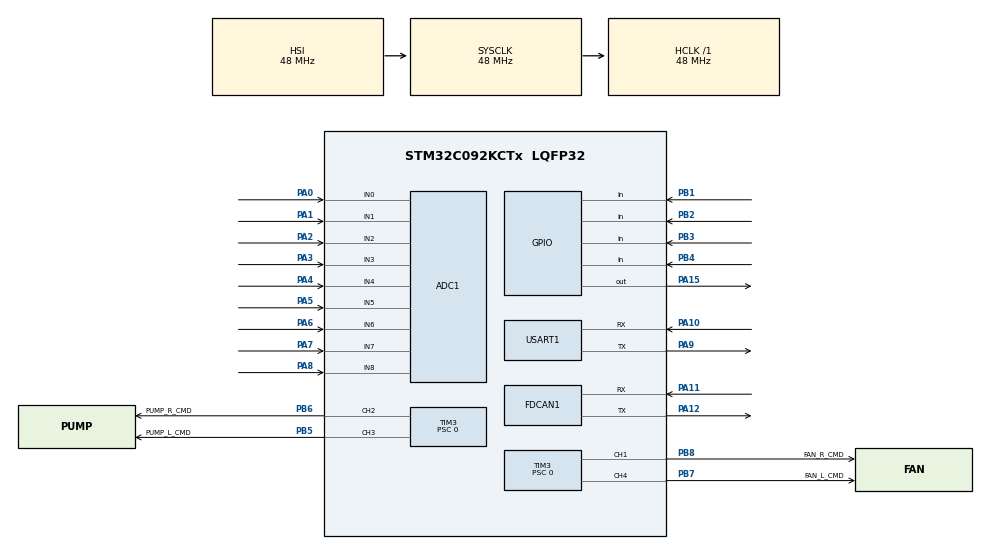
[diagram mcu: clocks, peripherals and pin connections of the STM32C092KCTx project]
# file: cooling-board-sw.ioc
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ADC1.Channel-0\#ChannelRegularConversion=ADC_CHANNEL_0
ADC1.Channel-1\#ChannelRegularConversion=ADC_CHANNEL_1
ADC1.Channel-2\#ChannelRegularConversion=ADC_CHANNEL_2
ADC1.Channel-3\#ChannelRegularConversion=ADC_CHANNEL_3
ADC1.Channel-4\#ChannelRegularConversion=ADC_CHANNEL_4
ADC1.Channel-5\#ChannelRegularConversion=ADC_CHANNEL_5
ADC1.Channel-6\#ChannelRegularConversion=ADC_CHANNEL_6
ADC1.Channel-7\#ChannelRegularConversion=ADC_CHANNEL_7
ADC1.DMAContinuousRequests=ENABLE
ADC1.ExternalTrigConv=ADC_EXTERNALTRIG_T1_TRGO2
ADC1.NbrOfConversion=8
ADC1.NbrOfConversionFlag=1
ADC1.OffsetNumber-0\#ChannelRegularConversion=ADC_OFFSET_NONE
ADC1.OffsetNumber-1\#ChannelRegularConversion=ADC_OFFSET_NONE
ADC1.OffsetNumber-2\#ChannelRegularConversion=ADC_OFFSET_NONE
ADC1.OffsetNumber-3\#ChannelRegularConversion=ADC_OFFSET_NONE
ADC1.OffsetNumber-4\#ChannelRegularConversion=ADC_OFFSET_NONE
ADC1.OffsetNumber-5\#ChannelRegularConversion=ADC_OFFSET_NONE
ADC1.OffsetNumber-6\#ChannelRegularConversion=ADC_OFFSET_NONE
ADC1.OffsetNumber-7\#ChannelRegularConversion=ADC_OFFSET_NONE
ADC1.Overrun=ADC_OVR_DATA_PRESERVED
ADC1.Rank-0\#ChannelRegularConversion=1
ADC1.Rank-1\#ChannelRegularConversion=2
ADC1.Rank-2\#ChannelRegularConversion=3
ADC1.Rank-3\#ChannelRegularConversion=4
ADC1.Rank-4\#ChannelRegularConversion=5
ADC1.Rank-5\#ChannelRegularConversion=6
ADC1.Rank-6\#ChannelRegularConversion=7
ADC1.Rank-7\#ChannelRegularConversion=8
ADC1.SamplingTime-0\#ChannelRegularConversion=ADC_SAMPLINGTIME_COMMON_1
ADC1.SamplingTime-1\#ChannelRegularConversion=ADC_SAMPLINGTIME_COMMON_1
ADC1.SamplingTime-2\#ChannelRegularConversion=ADC_SAMPLINGTIME_COMMON_1
ADC1.SamplingTime-3\#ChannelRegularConversion=ADC_SAMPLINGTIME_COMMON_1
ADC1.SamplingTime-4\#ChannelRegularConversion=ADC_SAMPLINGTIME_COMMON_1
ADC1.SamplingTime-5\#ChannelRegularConversion=ADC_SAMPLINGTIME_COMMON_1
ADC1.SamplingTime-6\#ChannelRegularConversion=ADC_SAMPLINGTIME_COMMON_1
ADC1.SamplingTime-7\#ChannelRegularConversion=ADC_SAMPLINGTIME_COMMON_1
ADC1.SamplingTimeCommon1=ADC_SAMPLETIME_12CYCLES_5
ADC1.SamplingTimeCommon2=ADC_SAMPLETIME_12CYCLES_5
ADC1.SelectedChannel=ADC_CHANNEL_0|ADC_CHANNEL_1|ADC_CHANNEL_2|ADC_CHANNEL_3|ADC_CHANNEL_4|ADC_CHANNEL_5|ADC_CHANNEL_6|ADC_CHANNEL_7|ADC_CHANNEL_8
ADC1.Sequencer=FULLY_CONFIGURABLE
ADC1.master=1
Dma.ADC1.0.Direction=DMA_PERIPH_TO_MEMORY
Dma.ADC1.0.EventEnable=DISABLE
Dma.ADC1.0.Instance=DMA1_Channel1
Dma.ADC1.0.MemDataAlignment=DMA_MDATAALIGN_HALFWORD
Dma.ADC1.0.MemInc=DMA_MINC_ENABLE
Dma.ADC1.0.Mode=DMA_CIRCULAR
Dma.ADC1.0.PeriphDataAlignment=DMA_PDATAALIGN_HALFWORD
Dma.ADC1.0.PeriphInc=DMA_PINC_DISABLE
Dma.ADC1.0.Polarity=HAL_DMAMUX_REQ_GEN_RISING
Dma.ADC1.0.Priority=DMA_PRIORITY_LOW
Dma.ADC1.0.RequestNumber=1
Dma.ADC1.0.SignalID=NONE
Dma.ADC1.0.SyncEnable=DISABLE
Dma.ADC1.0.SyncPolarity=HAL_DMAMUX_SYNC_NO_EVENT
Dma.ADC1.0.SyncRequestNumber=1
Dma.ADC1.0.SyncSignalID=NONE
Dma.Request0=ADC1
FDCAN1.CalculateBaudRateNominal=1000000
FDCAN1.CalculateTimeBitNominal=1000
FDCAN1.CalculateTimeQuantumNominal=62.5
FDCAN1.NominalPrescaler=3
FDCAN1.NominalSyncJumpWidth=2
FDCAN1.NominalTimeSeg1=12
FDCAN1.NominalTimeSeg2=3
Mcu.Family=STM32C0
Mcu.Name=STM32C092KCTx
Mcu.Package=LQFP32
NVIC.DMA1_Channel1_IRQn=true\:0\:0\:false\:false\:true\:false\:true\:true
NVIC.FDCAN1_IT0_IRQn=true\:0\:0\:false\:false\:true\:true\:true\:true
NVIC.FDCAN1_IT1_IRQn=true\:0\:0\:false\:false\:true\:true\:true\:true
PA0.Mode=IN0
PA0.Signal=ADC1_IN0
PA1.Mode=IN1
PA1.Signal=ADC1_IN1
PA10.Mode=Asynchronous
PA10.Signal=USART1_RX
PA11\ [PA9].Mode=FDCAN_Activate
PA11\ [PA9].Signal=FDCAN1_RX
PA12\ [PA10].Mode=FDCAN_Activate
PA12\ [PA10].Signal=FDCAN1_TX
PA13.Mode=Serial_Wire
PA13.Signal=DEBUG_SWDIO
PA14-BOOT0.Mode=Serial_Wire
PA14-BOOT0.Signal=DEBUG_SWCLK
PA15.Signal=GPIO_Output
PA2.Mode=IN2
PA2.Signal=ADC1_IN2
PA3.Mode=IN3
PA3.Signal=ADC1_IN3
PA4.Mode=IN4
PA4.Signal=ADC1_IN4
PA5.Mode=IN5
PA5.Signal=ADC1_IN5
PA6.Mode=IN6
PA6.Signal=ADC1_IN6
PA7.Mode=IN7
PA7.Signal=ADC1_IN7
PA8.Mode=IN8
PA8.Signal=ADC1_IN8
PA9.Mode=Asynchronous
PA9.Signal=USART1_TX
PB1.Signal=GPIO_Input
PB2.Signal=GPIO_Input
PB3.Signal=GPIO_Input
PB4.Signal=GPIO_Input
PB5.GPIO_Label=PUMP_L_CMD
PB5.Signal=S_TIM3_CH3
PB6.GPIO_Label=PUMP_R_CMD
PB6.Signal=S_TIM3_CH2
PB7.GPIO_Label=FAN_L_CMD
PB7.Signal=S_TIM3_CH4
PB8.GPIO_Label=FAN_R_CMD
PB8.Signal=S_TIM3_CH1
PC14-OSCX_IN(PC14).Mode=HSE-External-Oscillator
PC14-OSCX_IN(PC14).Signal=RCC_OSCX_IN
PC15-OSCX_OUT(PC15).Mode=HSE-External-Oscillator
PC15-OSCX_OUT(PC15).Signal=RCC_OSCX_OUT
ProjectManager.HeapSize=0x200
ProjectManager.StackSize=0x400
ProjectManager.TargetToolchain=Makefile
RCC.ADCFreq_Value=48000000
RCC.AHBFreq_Value=48000000
RCC.CortexFreq_Value=48000000
RCC.EXTERNAL_CLOCK_VALUE=12288000
RCC.HCLKFreq_Value=48000000
RCC.HSE_VALUE=8000000
RCC.HSISYSCLKDivider=RCC_HSI_DIV1
RCC.HSI_VALUE=48000000
RCC.LSE_VALUE=32768
RCC.SYSCLKFreq_VALUE=48000000
SH.S_TIM3_CH1.0=TIM3_CH1,PWM Generation1 CH1
SH.S_TIM3_CH2.0=TIM3_CH2,PWM Generation2 CH2
SH.S_TIM3_CH3.0=TIM3_CH3,PWM Generation3 CH3
SH.S_TIM3_CH4.0=TIM3_CH4,PWM Generation4 CH4
TIM1.Period=999
TIM1.Prescaler=4799
TIM1.TIM_MasterOutputTrigger=TIM_TRGO_RESET
TIM1.TIM_MasterOutputTrigger2=TIM_TRGO2_UPDATE
TIM3.Channel-PWM\ Generation1\ CH1=TIM_CHANNEL_1
TIM3.Channel-PWM\ Generation2\ CH2=TIM_CHANNEL_2
TIM3.Channel-PWM\ Generation3\ CH3=TIM_CHANNEL_3
TIM3.Channel-PWM\ Generation4\ CH4=TIM_CHANNEL_4
TIM3.OCPolarity_1=TIM_OCPOLARITY_HIGH
TIM3.OCPolarity_2=TIM_OCPOLARITY_HIGH
TIM3.OCPolarity_3=TIM_OCPOLARITY_HIGH
TIM3.OCPolarity_4=TIM_OCPOLARITY_HIGH
TIM3.Period=65535
TIM3.Prescaler=0
USART1.VirtualMode-Asynchronous=VM_ASYNC
VP_TIM1_VS_ClockSourceINT.Mode=Internal
VP_TIM3_VS_ClockSourceINT.Mode=Internal
board=custom

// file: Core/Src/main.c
/* USER CODE BEGIN Header */
/**
  ******************************************************************************
  * @file           : main.c
  * @brief          : Main program body
  ******************************************************************************
  * @attention
  *
  * Copyright (c) 2026 STMicroelectronics.
  * All rights reserved.
  *
  * This software is licensed under terms that can be found in the LICENSE file
  * in the root directory of this software component.
  * If no LICENSE file comes with this software, it is provided AS-IS.
  *
  ******************************************************************************
  */
/* USER CODE END Header */
#include "main.h"
#include "adc.h"
#include "dma.h"
#include "fdcan.h"
#include "tim.h"
#include "usart.h"
#include "gpio.h"

/* USER CODE BEGIN Includes */

#include "fsm.h"
#include "post.h"
#include "can-communication-router-api.h"
#include "control-api.h"
#include "timebase-api.h"
#include "watchdogs-api.h"

/* USER CODE END Includes */

/* USER CODE BEGIN PD */
#define TIMEBASE_RESOLUTION 1U
/* USER CODE END PD */

/* USER CODE BEGIN PV */
fsm_state_t current_state = FSM_STATE_INIT;
struct TimebaseHandler timebase_handler;
struct WatchdogHandler watchdog_handler;

/* USER CODE END PV */

void SystemClock_Config(void);

/* USER CODE BEGIN 0 */

static void VectorBase_Config(void) {
    /* The constant array with vectors of the vector table is declared externally in the
   * c-startup code.
   */
    extern const unsigned long g_pfnVectors[];

    /* Remap the vector table to where the vector table is located for this program. */
    SCB->VTOR = (unsigned long)&g_pfnVectors[0];
}

/* USER CODE END 0 */

int main(void) {

    /* USER CODE BEGIN 1 */
    VectorBase_Config(); // bootloader code
    /* USER CODE END 1 */

    /* MCU Configuration--------------------------------------------------------*/

    /* Reset of all peripherals, Initializes the Flash interface and the Systick. */
    HAL_Init();

    /* Configure the system clock */
    SystemClock_Config();

    /* Initialize all configured peripherals */
    MX_GPIO_Init();
    MX_DMA_Init();
    MX_ADC1_Init();
    MX_FDCAN1_Init();
    MX_TIM3_Init();
    MX_USART1_UART_Init();
    MX_TIM1_Init();
    /* USER CODE BEGIN 2 */

    HAL_FDCAN_Start(&hfdcan1);

    if (timebase_api_init(&timebase_handler, TIMEBASE_RESOLUTION) != TIMEBASE_RC_OK) {
        Error_Handler();
    }

    timebase_set_enable(&timebase_handler, true);

    if (watchdogs_api_init_pool(&watchdog_handler, HAL_GetTick) != WATCHDOG_RC_OK) {
        Error_Handler();
    }

    struct PostInitData post_init_data = {
        .can_network_configurations = {
            [CAN_COMMUNICATION_NETWORK_PRIMARY] = {
                .cs_enter = __disable_irq,
                .cs_exit = __enable_irq,
                .on_receive = can_communication_router_api_receive_primary,
                .send = fdcan_send_primary,
            },
        },
        .pid_configurations = {
            // TODO: provide a meaningful configuration here
            [CONTROL_NAME_LEFT_PUMP] = { 0 },
            [CONTROL_NAME_LEFT_FAN] = { 0 },
            [CONTROL_NAME_RIGHT_PUMP] = { 0 },
            [CONTROL_NAME_RIGHT_FAN] = { 0 },
        },
        .watchdog_handler = &watchdog_handler,
        .reboot = HAL_NVIC_SystemReset
    };

    current_state = fsm_run_state(current_state, &post_init_data);

    HAL_FDCAN_ActivateNotification(&hfdcan1, FDCAN_IT_RX_FIFO0_NEW_MESSAGE, 0);
    HAL_FDCAN_ActivateNotification(&hfdcan1, FDCAN_IT_RX_FIFO1_NEW_MESSAGE, 0);

    // PWM period + every actuator channel running at 0% before the control loop starts
    if (tim_pwm_start() != CONTROL_RC_OK) {
        Error_Handler();
    }

    struct FsmData fsm_data = {
        .get_tick = HAL_GetTick,
        .set_control = tim_pwm_set_control
    };

    /* USER CODE END 2 */

    /* Infinite loop */
    /* USER CODE BEGIN WHILE */
    while (1) {
        watchdogs_api_routine(&watchdog_handler);
        current_state = fsm_run_state(current_state, &fsm_data);

        /* USER CODE END WHILE */

        /* USER CODE BEGIN 3 */
    }
    control_api_deinit();

    /* USER CODE END 3 */
}

void SystemClock_Config(void) {
    RCC_OscInitTypeDef RCC_OscInitStruct = { 0 };
    RCC_ClkInitTypeDef RCC_ClkInitStruct = { 0 };

    __HAL_FLASH_SET_LATENCY(FLASH_LATENCY_1);

    /** Initializes the RCC Oscillators according to the specified parameters
  * in the RCC_OscInitTypeDef structure.
  */
    RCC_OscInitStruct.OscillatorType = RCC_OSCILLATORTYPE_HSI;
    RCC_OscInitStruct.HSIState = RCC_HSI_ON;
    RCC_OscInitStruct.HSIDiv = RCC_HSI_DIV1;
    RCC_OscInitStruct.HSICalibrationValue = RCC_HSICALIBRATION_DEFAULT;
    if (HAL_RCC_OscConfig(&RCC_OscInitStruct) != HAL_OK) {
        Error_Handler();
    }

    /** Initializes the CPU, AHB and APB buses clocks
  */
    RCC_ClkInitStruct.ClockType = RCC_CLOCKTYPE_HCLK | RCC_CLOCKTYPE_SYSCLK | RCC_CLOCKTYPE_PCLK1;
    RCC_ClkInitStruct.SYSCLKSource = RCC_SYSCLKSOURCE_HSI;
    RCC_ClkInitStruct.SYSCLKDivider = RCC_SYSCLK_DIV1;
    RCC_ClkInitStruct.AHBCLKDivider = RCC_HCLK_DIV1;
    RCC_ClkInitStruct.APB1CLKDivider = RCC_APB1_DIV1;

    if (HAL_RCC_ClockConfig(&RCC_ClkInitStruct, FLASH_LATENCY_1) != HAL_OK) {
        Error_Handler();
    }
}

/* USER CODE BEGIN 4 */
void HAL_SYSTICK_Callback(void) {
    timebase_inc_tick(&timebase_handler);
}
/* USER CODE END 4 */

void Error_Handler(void) {
    __disable_irq();
    while (1) {
    }
}
